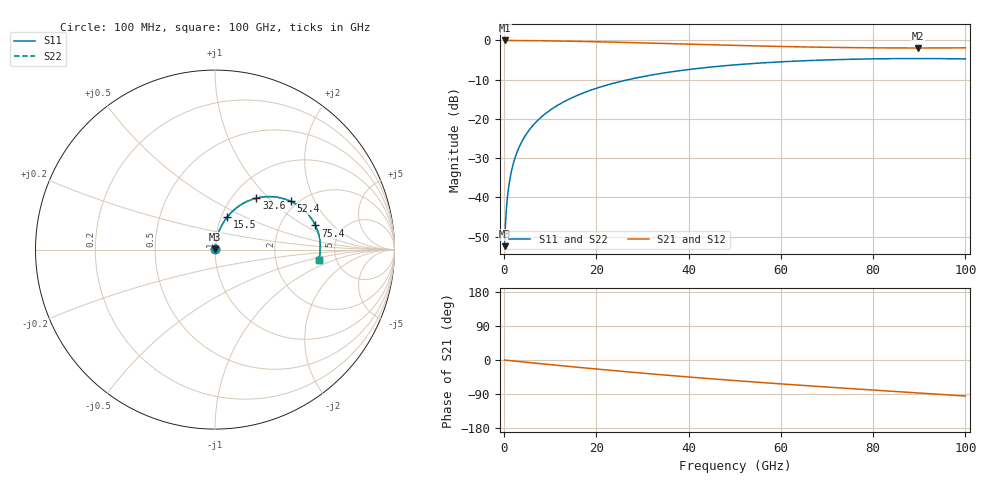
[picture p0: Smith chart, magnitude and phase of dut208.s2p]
! Touchstone file exported from HFSS 2026.1.0
!  File:  C:/ffzhzh/LocalFiles/Ansys_Project_Files/temp_train_RDL_208_1783500825_31944.aedt
!  Generated:  04:54:53 PM Jul  8, 2026
!  Design:  RDL
!  Project:  temp_train_RDL_208_1783500825_31944
! Variables:
!  h_bsmrdl = 2um
!  h_ox = 20um
!  h_rdl = 5um
!  h_sub = 80um
!  h_tmrdl = 3.87um
!  h_tsv = 80um
!  h_via = 3um
!  l_bsmrdl = 300um
!  l_sub = 714.05um
!  l_tmrdl = 314.05um
!  m_sub = 200um
!  pitch = 41.55um
!  r_tsv = 6um
!  s_tmrdl = 10um
!  w_bsmrdl = 18um
!  w_sub = 500um
!  w_tmrdl = 16.3um
!  x_tsv_center1 = 322.2um
!  x_tsv_center2 = 640.2um
!  x_tsv_center3 = 970.55um
!  x_tsv_center4 = 1288.55um
!  x_tsv_center5 = 1618.9um
!  x_tsv_center6 = 1936.9um
# GHz S MA R 50.000000
! Terminal data exported
! Port[1] = TM_RDL1_1_T1
! Port[2] = TM_RDL1_1_T2
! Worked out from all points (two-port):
!   1000 points, 100 MHz to 100 GHz, reference 50 ohm
!   highest |S21| = -0.02 dB at 100 MHz (marker M1); lowest = -1.9 dB at 89.8 GHz (marker M2)
!   |S21| within 3 dB of the highest: start of sweep to end of sweep
!   lowest |S11| = -52.4 dB at 100 MHz (marker M3), VSWR 1.00, Z = 50.2 + j0.145 ohm
!   |S11| at or under -10 dB: start of sweep to 26.9 GHz
!   |S22| runs from -52.4 to -4.6 dB; largest |S21 - S12| = 6e-15
!   S11 on the Smith chart (normalised r, x): 100 MHz: 1.00, +0.00; 15.5 GHz: 1.07, +0.41; 32.6 GHz: 1.28, +0.85; 52.4 GHz: 1.84, +1.32; 75.4 GHz: 3.15, +1.27; 100 GHz: 3.66, -0.62
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0.1  0.002398 37.1  0.9981 -0.1  0.9981 -0.1  0.002398 37.1
! Gamma 0 0 0 0
! Port Impedance 50 0 50 0
0.4  0.005995 68.9  0.9979 -0.5  0.9979 -0.5  0.005995 68.9
0.8  0.0112 77.3  0.9977 -1.0  0.9977 -1.0  0.0112 77.3
1.1  0.01515 79.7  0.9975 -1.4  0.9975 -1.4  0.01515 79.7
1.4  0.01913 81.0  0.9974 -1.8  0.9974 -1.8  0.01913 81.0
2.4  0.03244 82.3  0.9968 -3.0  0.9968 -3.0  0.03244 82.3
3.8  0.05095 81.8  0.9956 -4.7  0.9956 -4.7  0.05095 81.8
5.8  0.07695 79.9  0.9932 -7.2  0.9932 -7.2  0.07695 79.9
8.3  0.1087 77.3  0.9892 -10.2  0.9892 -10.2  0.1087 77.3
11.5  0.148 73.7  0.9831 -14.0  0.9831 -14.0  0.148 73.7
15.5  0.1953 69.3  0.9739 -18.7  0.9739 -18.7  0.1953 69.3
16.8  0.2102 67.9  0.9706 -20.2  0.9706 -20.2  0.2102 67.9
23.9  0.2866 60.2  0.9499 -28.2  0.9499 -28.2  0.2866 60.2
32.6  0.3678 51.2  0.9209 -37.4  0.9209 -37.4  0.3678 51.2
33.4  0.3746 50.4  0.9181 -38.3  0.9181 -38.3  0.3746 50.4
50.1  0.4884 34.6  0.863 -54.4  0.863 -54.4  0.4884 34.6
52.4  0.5002 32.5  0.8562 -56.4  0.8562 -56.4  0.5003 32.5
66.7  0.5555 20.5  0.822 -68.7  0.822 -68.7  0.5555 20.5
75.4  0.5752 13.6  0.8085 -75.7  0.8085 -75.7  0.5752 13.6
83.4  0.5849 7.3  0.8016 -82.0  0.8016 -82.0  0.585 7.3
89.8  0.5872 2.4  0.7999 -87.0  0.7999 -87.0  0.5872 2.4
100  0.5808 -5.5  0.8042 -95.1  0.8042 -95.1  0.5809 -5.5
